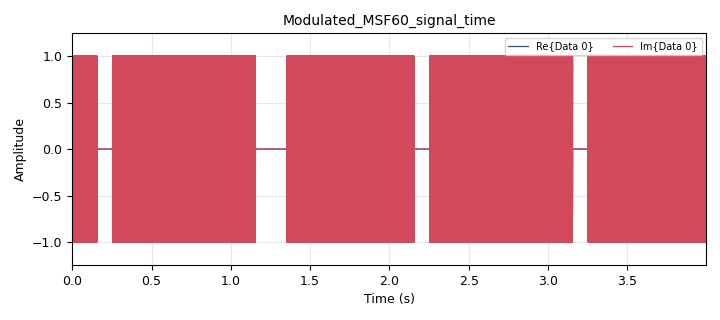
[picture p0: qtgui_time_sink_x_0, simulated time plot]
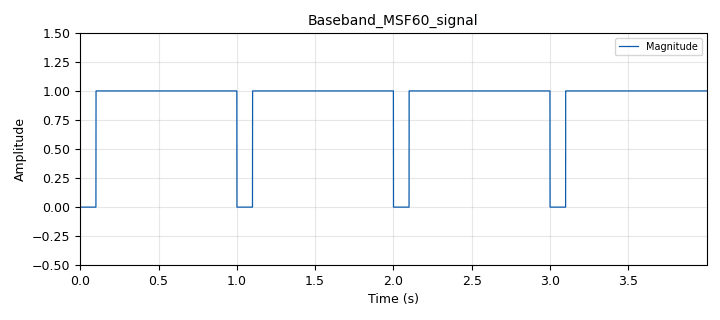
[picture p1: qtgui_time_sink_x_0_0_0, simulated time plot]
options:
  parameters:
    author: henningM1r
    generate_options: qt_gui
    id: MSF60_Transmitter
    output_language: python
    title: MSF60 Transmitter
  states: {}

blocks:
- name: decimation
  id: variable
  parameters:
    value: '15'
  states: {}
- name: freq_MSF60
  id: variable
  parameters:
    value: '60000'
  states: {}
- name: minute_tag
  id: variable_tag_object
  parameters:
    key: pmt.intern("key")
    offset: '60'
    src: pmt.intern("src")
    value: pmt.intern("min")
  states: {}
- name: samp_rate
  id: variable
  parameters:
    value: int(192000)
  states: {}
- name: analog_sig_source_x_2
  id: analog_sig_source_x
  parameters:
    amp: '1.0'
    comment: |-
      modulation signal to shift the
      pass band signal to 60.0 kHz
    freq: freq_MSF60
    offset: '0'
    phase: '0'
    samp_rate: samp_rate
    type: complex
    waveform: analog.GR_COS_WAVE
  states: {}
- name: blocks_add_xx_1
  id: blocks_add_xx
  parameters:
    type: complex
  states: {}
- name: blocks_magphase_to_complex_0
  id: blocks_magphase_to_complex
  parameters: {}
  states: {}
- name: blocks_multiply_xx_0
  id: blocks_multiply_xx
  parameters:
    type: complex
  states: {}
- name: blocks_null_sink_0_0
  id: blocks_null_sink
  parameters:
    type: short
  states: {}
- name: blocks_null_sink_0_0_0
  id: blocks_null_sink
  parameters:
    type: short
  states: {}
- name: blocks_null_source_0
  id: blocks_null_source
  parameters:
    type: float
  states: {}
- name: blocks_repeat_0_0
  id: blocks_repeat
  parameters:
    comment: |-
      each bit stretches a number
      of "samp_rate" samples,
      i.e. fill one full second
    interp: decimation
    type: complex
  states: {}
- name: blocks_repeat_1_0
  id: blocks_repeat
  parameters:
    comment: |-
      repeat time bits over
      full frame of second
    interp: int(samp_rate/decimation)
    type: short
  states: {}
- name: blocks_repeat_1_0_0
  id: blocks_repeat
  parameters:
    comment: |-
      repeat time bits over
      full frame of second
    interp: int(samp_rate/decimation)
    type: short
  states: {}
- name: blocks_short_to_float_0_0
  id: blocks_short_to_float
  parameters:
    scale: '1'
  states: {}
- name: blocks_tags_strobe_0_0_1_0
  id: blocks_tags_strobe
  parameters:
    comment: set a tag each second
    key: pmt.intern("S")
    nsamps: samp_rate
    type: complex
    value: pmt.intern("sec")
  states: {}
- name: blocks_vector_source_x_0_0_0_0_0_0
  id: blocks_vector_source_x
  parameters:
    comment: waveform for 2 (new minute)
    repeat: 'True'
    type: short
    vector: list(int(0.5*samp_rate/decimation)*[0]) + list((int(0.5*samp_rate/decimation))*[1])
  states: {}
- name: blocks_vector_source_x_0_0_0_0_1_0
  id: blocks_vector_source_x
  parameters:
    comment: waveform for 10
    repeat: 'True'
    type: short
    vector: list(int(0.2*samp_rate/decimation)*[0]) + list((int(0.8*samp_rate/decimation))*[1])
  states: {}
- name: blocks_vector_source_x_0_0_0_0_1_0_0
  id: blocks_vector_source_x
  parameters:
    comment: waveform for 11
    repeat: 'True'
    type: short
    vector: list(int(0.3*samp_rate/decimation)*[0]) + list((int(0.7*samp_rate/decimation))*[1])
  states: {}
- name: blocks_vector_source_x_0_0_0_0_1_0_0_0
  id: blocks_vector_source_x
  parameters:
    comment: waveform for 01
    repeat: 'True'
    type: short
    vector: list(int(0.1*samp_rate/decimation)*[0]) + list(int(0.1*samp_rate/decimation)*[1]) + list(int(0.1*samp_rate/decimation)*[0]) + list(int(0.7*samp_rate/decimation)*[1])
  states: {}
- name: blocks_vector_source_x_0_0_0_0_2
  id: blocks_vector_source_x
  parameters:
    comment: waveform for 00
    repeat: 'True'
    type: short
    vector: list(int(0.1*samp_rate/decimation)*[0]) + list((int(0.9*samp_rate/decimation))*[1])
  states: {}
- name: blocks_vector_source_x_0_0_0_1
  id: blocks_vector_source_x
  parameters:
    comment: |-
      example MSF60 encoded
      "A"-bit-stream (for OOK)
      full length: must be
      60 elements, the first
      element must be a 2
    repeat: 'True'
    tags: '[minute_tag]'
    type: short
    vector: (2,0,0,0,0,0,0,0,0,0,0,0,0,0,0,0,0,0,0,1,0,0,0,1,1,0,0,1,1,0,1,0,0,1,0,1,0,0,0,0,1,0,0,1,0,0,1,0,0,0,0,1,0,1,1,1,1,1,1,0)
  states: {}
- name: blocks_vector_source_x_0_0_0_1_0
  id: blocks_vector_source_x
  parameters:
    comment: |-
      example MSF60 encoded
      "B"-bit-stream (for OOK)
      full length: must be
      60 elements, the first
      element must be a 2
    repeat: 'True'
    tags: '[minute_tag]'
    type: short
    vector: (2,0,0,0,0,0,0,0,0,0,0,0,0,0,0,0,0,0,0,0,0,0,0,0,0,0,0,0,0,0,0,0,0,0,0,0,0,0,0,0,0,0,0,0,0,0,0,0,0,0,0,0,0,0,0,0,1,1,1,0)
  states: {}
- name: epy_block_0_0_0
  id: epy_block
  parameters:
    _source_code: "\nimport numpy as np\nfrom gnuradio import gr\n\n\nclass blk(gr.sync_block):\n\n    def __init__(self):\n        gr.sync_block.__init__(\n            self,\n            name='Synchronous\\nWaveform Selector',\n            in_sig=[np.short,     # selector A\n                    np.short,     # selector B\n                    np.short,     # input signal for symbol 00\n                    np.short,     # input signal for symbol 10\n                    np.short,     # input signal for symbol 11\n                    np.short,     # input signal for symbol 01\n                    np.short],    # input signal for symbol 2\n            out_sig=[np.short,    # output signal\n                     np.short,    # forward selector A\n                     np.short]    # forward selector B\n        )\n\n    def work(self, input_items, output_items):\n        inp_sA = input_items[0]   # selector value A\n        inp_sB = input_items[1]   # selector value B\n        inp_00 = input_items[2]   # input signal for symbol 00\n        inp_10 = input_items[3]   # input signal for symbol 10\n        inp_11 = input_items[4]   # input signal for symbol 11\n        inp_01 = input_items[6]   # input signal for symbol 01\n        inp_2 = input_items[6]    # input signal for symbol 2\n\n        # only as initialization value for output signal\n        output_items[0][:] = inp_00\n\n        # forward the selector values\n        output_items[1][:] = inp_sA\n        output_items[2][:] = inp_sB\n\n\n        # synchronously select the input signal to forward it to the output\n        output_items[0][:] = self.selsym_to_bbsig(inp_sA, inp_sB,\n                                                  inp_00, inp_10,\n                                                  inp_11, inp_01,\n                                                  inp_2)\n\n        return len(output_items[0])\n\n    # selected symbol to baseband signal\n    def selsym_to_bbsig(self, inp_sA, inp_sB,\n                             inp_00, inp_10, inp_11, inp_01,\n                             inp_2):\n        out = inp_00\n\n        for idx, ch in enumerate(inp_00):\n            # forward waveform for symbol 00\n            if (inp_sA[idx] == 0 and inp_sB[idx] == 0):\n                out[idx] = inp_00[idx]\n\n            # forward waveform for symbol 10\n            elif (inp_sA[idx] == 1 and inp_sB[idx] == 0):\n                out[idx] = inp_10[idx]\n\n            # forward waveform for symbol 11\n            elif (inp_sA[idx] == 1 and inp_sB[idx] == 1):\n                out[idx] = inp_11[idx]\n\n            # forward waveform for symbol 01\n            elif (inp_sA[idx] == 0 and inp_sB[idx] == 1):\n                out[idx] = inp_01[idx]\n\n            # forward waveform for symbol 2\n            elif (inp_sA[idx] == 2 and inp_sB[idx] == 2):\n                out[idx] = inp_2[idx]\n\n            else:\n                # TBD implement proper error handling here ...\n                out[idx] = inp_00[idx]\n\n        return out\n"
    alias: Synchronous_Waveform_Selector_1
    comment: |-
      selects the OOK-
      waveform to the
      corresponding
      symbol 0, 1 or 2
  states: {}
- name: import_0
  id: import
  parameters:
    comment: |-
      Windows needs
      import of zmq
    imports: import zmq
  states: {}
- name: import_2
  id: import
  parameters:
    imports: import math
  states: {}
- name: network_tcp_sink_0
  id: network_tcp_sink
  parameters:
    mode: '2'
    port: '55553'
    type: complex
  states: {}
- name: note_0
  id: note
  parameters:
    comment: |-
      MSF60 OOK
      amplitude
      modulation
  states: {}
- name: note_1
  id: note
  parameters:
    comment: |-
      example time:
      2023-06-25
      Sunday
      12:21h
      summer time
      no summer time warning
      all parities valid
  states: {}
- name: qtgui_freq_sink_x_0
  id: qtgui_freq_sink_x
  parameters:
    bw: samp_rate
    fc: '0'
    fftsize: '1024'
    gui_hint: (4,0)
    name: Modulated_DCF77_signal_frequency
    type: complex
    update_time: '0.025'
    ymax: '1'
  states: {state: disabled}
- name: qtgui_time_sink_x_0
  id: qtgui_time_sink_x
  parameters:
    gui_hint: (3,0)
    name: Modulated_MSF60_signal_time
    size: samp_rate*4
    srate: samp_rate
    type: complex
    update_time: '0.025'
    ymax: '1.25'
    ymin: '-1.25'
  states: {}
- name: qtgui_time_sink_x_0_0_0
  id: qtgui_time_sink_x
  parameters:
    gui_hint: (2,0)
    label1: Magnitude
    name: Baseband_MSF60_signal
    size: int(4*samp_rate/decimation)
    srate: int(samp_rate/decimation)
    type: float
    update_time: '0.025'
    ymax: '1.5'
    ymin: '-0.5'
  states: {}
- name: virtual_sink_0
  id: virtual_sink
  parameters:
    stream_id: '0'
  states: {}
- name: virtual_source_0
  id: virtual_source
  parameters:
    stream_id: '0'
  states: {}

connections:
- [analog_sig_source_x_2, '0', blocks_multiply_xx_0, '0']
- [blocks_add_xx_1, '0', qtgui_time_sink_x_0, '0']
- [blocks_magphase_to_complex_0, '0', virtual_sink_0, '0']
- [blocks_multiply_xx_0, '0', blocks_add_xx_1, '1']
- [blocks_multiply_xx_0, '0', network_tcp_sink_0, '0']
- [blocks_multiply_xx_0, '0', qtgui_freq_sink_x_0, '0']
- [blocks_null_source_0, '0', blocks_magphase_to_complex_0, '1']
- [blocks_repeat_0_0, '0', blocks_multiply_xx_0, '1']
- [blocks_repeat_1_0, '0', epy_block_0_0_0, '0']
- [blocks_repeat_1_0_0, '0', epy_block_0_0_0, '1']
- [blocks_short_to_float_0_0, '0', blocks_magphase_to_complex_0, '0']
- [blocks_short_to_float_0_0, '0', qtgui_time_sink_x_0_0_0, '0']
- [blocks_tags_strobe_0_0_1_0, '0', blocks_add_xx_1, '0']
- [blocks_vector_source_x_0_0_0_0_0_0, '0', epy_block_0_0_0, '6']
- [blocks_vector_source_x_0_0_0_0_1_0, '0', epy_block_0_0_0, '3']
- [blocks_vector_source_x_0_0_0_0_1_0_0, '0', epy_block_0_0_0, '4']
- [blocks_vector_source_x_0_0_0_0_1_0_0_0, '0', epy_block_0_0_0, '5']
- [blocks_vector_source_x_0_0_0_0_2, '0', epy_block_0_0_0, '2']
- [blocks_vector_source_x_0_0_0_1, '0', blocks_repeat_1_0, '0']
- [blocks_vector_source_x_0_0_0_1_0, '0', blocks_repeat_1_0_0, '0']
- [epy_block_0_0_0, '0', blocks_short_to_float_0_0, '0']
- [epy_block_0_0_0, '1', blocks_null_sink_0_0, '0']
- [epy_block_0_0_0, '2', blocks_null_sink_0_0_0, '0']
- [virtual_source_0, '0', blocks_repeat_0_0, '0']

metadata:
  file_format: 1
